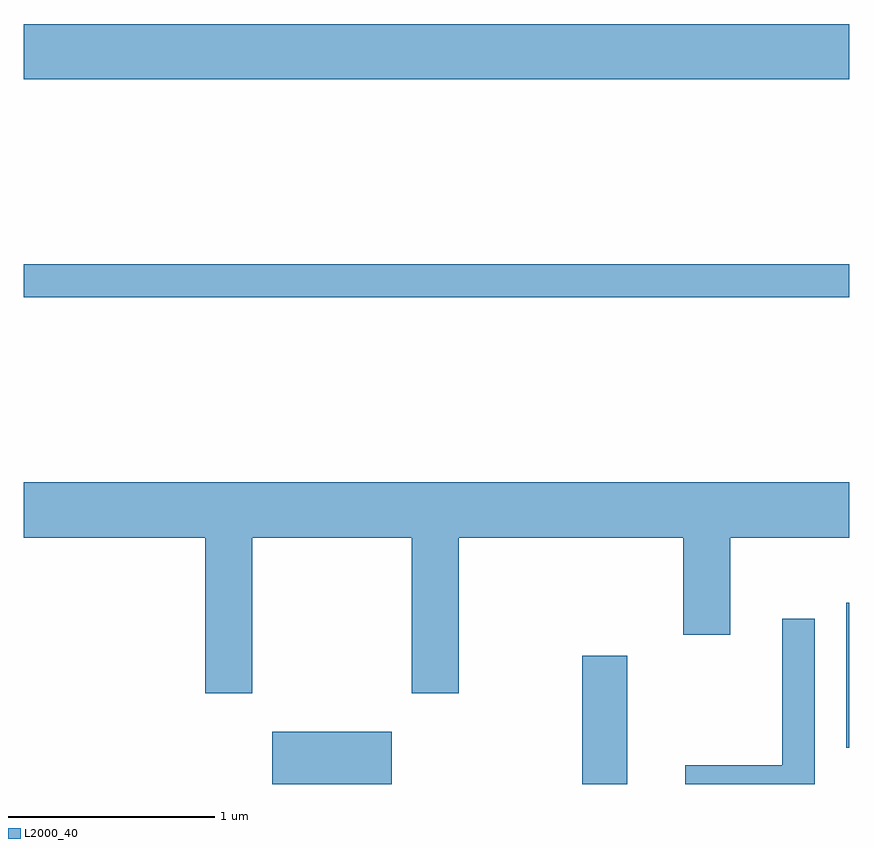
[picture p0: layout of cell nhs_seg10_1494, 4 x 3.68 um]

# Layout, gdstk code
import gdstk
lib = gdstk.Library(unit=1e-6, precision=1e-09)
def R(c, l, rs):  # rectangles x0, y0, x1, y1
    for r in rs: c.add(gdstk.rectangle(r[:2], r[2:], *l))
def P(c, l, *ps):  # polygons
    for p in ps: c.add(gdstk.Polygon(p, *l))
L2000_40 = (2000, 40)

nhs_seg10_1494 = lib.new_cell('nhs_seg10_1494')
R(nhs_seg10_1494, L2000_40, [(230.816,2090.522,231.394,2090.774), (232.316,2090.522,232.534,2091.144), (233.596,2090.698,233.611,2091.399), (229.611,2092.881,233.611,2093.039), (229.611,2093.936,233.611,2094.204)])
P(nhs_seg10_1494, L2000_40, [(230.719,2091.716),(231.491,2091.716),(231.491,2090.961),(231.719,2090.961),(231.719,2091.716),(232.806,2091.716),(232.806,2091.246),(233.034,2091.246),(233.034,2091.716),(233.611,2091.716),(233.611,2091.984),(229.611,2091.984),(229.611,2091.716),(230.491,2091.716),(230.491,2090.961),(230.719,2090.961)],
  [(233.444,2091.323),(233.286,2091.323),(233.286,2090.614),(232.816,2090.614),(232.816,2090.522),(233.444,2090.522)])

lib.write_gds('nhs_seg10_1494.gds')
